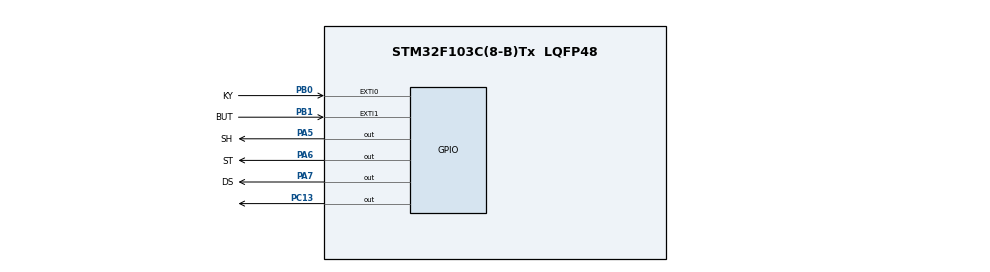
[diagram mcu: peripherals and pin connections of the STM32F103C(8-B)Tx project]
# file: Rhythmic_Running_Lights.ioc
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Mcu.Family=STM32F1
Mcu.Name=STM32F103C(8-B)Tx
Mcu.Package=LQFP48
NVIC.EXTI0_IRQn=true\:0\:0\:false\:false\:true\:true\:true\:true
NVIC.EXTI1_IRQn=true\:0\:0\:false\:false\:true\:true\:true\:true
NVIC.PriorityGroup=NVIC_PRIORITYGROUP_4
PA13.Mode=Serial_Wire
PA13.Signal=SYS_JTMS-SWDIO
PA14.Mode=Serial_Wire
PA14.Signal=SYS_JTCK-SWCLK
PA5.GPIO_Label=SH
PA5.GPIO_Speed=GPIO_SPEED_FREQ_HIGH
PA5.Signal=GPIO_Output
PA6.GPIO_Label=ST
PA6.GPIO_Speed=GPIO_SPEED_FREQ_HIGH
PA6.Signal=GPIO_Output
PA7.GPIO_Label=DS
PA7.GPIO_Speed=GPIO_SPEED_FREQ_HIGH
PA7.Signal=GPIO_Output
PB0.GPIO_Label=KY
PB0.GPIO_ModeDefaultEXTI=GPIO_MODE_IT_FALLING
PB0.GPIO_PuPd=GPIO_PULLUP
PB0.Signal=GPXTI0
PB1.GPIO_Label=BUT
PB1.GPIO_ModeDefaultEXTI=GPIO_MODE_IT_FALLING
PB1.GPIO_PuPd=GPIO_PULLUP
PB1.Signal=GPXTI1
PC13-TAMPER-RTC.Signal=GPIO_Output
PD0-OSC_IN.Mode=HSE-External-Oscillator
PD0-OSC_IN.Signal=RCC_OSC_IN
PD1-OSC_OUT.Mode=HSE-External-Oscillator
PD1-OSC_OUT.Signal=RCC_OSC_OUT
ProjectManager.HeapSize=0x200
ProjectManager.StackSize=0x400
ProjectManager.TargetToolchain=STM32CubeIDE
RCC.ADCPresc=RCC_ADCPCLK2_DIV8
RCC.AHBFreq_Value=72000000
RCC.APB1CLKDivider=RCC_HCLK_DIV2
RCC.APB1Freq_Value=36000000
RCC.APB1TimFreq_Value=72000000
RCC.APB2Freq_Value=72000000
RCC.APB2TimFreq_Value=72000000
RCC.EnbaleCSS=true
RCC.HCLKFreq_Value=72000000
RCC.PLLMUL=RCC_PLL_MUL9
RCC.PLLSourceVirtual=RCC_PLLSOURCE_HSE
RCC.SYSCLKFreq_VALUE=72000000
RCC.SYSCLKSource=RCC_SYSCLKSOURCE_PLLCLK
RCC.USBFreq_Value=72000000
board=custom

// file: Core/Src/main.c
/* USER CODE BEGIN Header */
/*
	Rhythmic_Running_Lights
 */
/* USER CODE END Header */
#include "main.h"
#include "gpio.h"

/* USER CODE BEGIN Includes */
#include "stdbool.h"
/* USER CODE END Includes */

/* USER CODE BEGIN PV */

#define HC595_DS_PORT    GPIOA
#define HC595_DS_PIN     GPIO_PIN_7
#define HC595_SHCP_PORT  GPIOA
#define HC595_SHCP_PIN   GPIO_PIN_5
#define HC595_STCP_PORT  GPIOA
#define HC595_STCP_PIN   GPIO_PIN_6

volatile bool beat_dec = false; //beat detected
uint32_t rand_state = 0; //generate random
uint8_t state = 0; //state
uint32_t last_button_time = 0; // button

static uint32_t last_time = 0;
/* USER CODE END PV */

void SystemClock_Config(void);
/* USER CODE BEGIN PFP */
void flash_led(uint8_t times);
/* USER CODE END PFP */

/* USER CODE BEGIN 0 */

//random byte for 75HC585
uint8_t RandomByte(void) {
	rand_state = rand_state * 1103515245 + 12345;
	return (rand_state >> 16) & 0xFF;
}

//sending byte from 75hc585
void HC585_Byte(uint8_t byte) {
	for (int i = 7; i >= 0; i--) {
		HAL_GPIO_WritePin(HC595_DS_PORT, HC595_DS_PIN,
				(byte & (1 << i)) ? GPIO_PIN_SET : GPIO_PIN_RESET);
		HAL_GPIO_WritePin(HC595_SHCP_PORT, HC595_SHCP_PIN, GPIO_PIN_SET);
		HAL_GPIO_WritePin(HC595_SHCP_PORT, HC595_SHCP_PIN, GPIO_PIN_RESET);
	}

	HAL_GPIO_WritePin(HC595_STCP_PORT, HC595_STCP_PIN, GPIO_PIN_SET);
	HAL_GPIO_WritePin(HC595_STCP_PORT, HC595_STCP_PIN, GPIO_PIN_RESET);
}
/* USER CODE END 0 */

int main(void) {

	/* MCU Configuration--------------------------------------------------------*/

	/* Reset of all peripherals, Initializes the Flash interface and the Systick. */
	HAL_Init();

	/* USER CODE BEGIN Init */
	rand_state = HAL_GetTick();
	/* USER CODE END Init */

	/* Configure the system clock */
	SystemClock_Config();

	/* Initialize all configured peripherals */
	MX_GPIO_Init();
	/* USER CODE BEGIN 2 */
	rand_state = HAL_GetTick();
	HAL_GPIO_WritePin(GPIOC, GPIO_PIN_13, GPIO_PIN_SET);
	/* USER CODE END 2 */

	/* Infinite loop */
	while (1) {

		/* USER CODE BEGIN 3 */
		if (state == 0)
		{
			if (beat_dec == true)
			{
				beat_dec = false;
				uint8_t pattern = RandomByte();
				HC585_Byte(pattern);
				HAL_GPIO_WritePin(GPIOC, GPIO_PIN_13, GPIO_PIN_RESET);
				HAL_Delay(20);
				HAL_GPIO_WritePin(GPIOC, GPIO_PIN_13, GPIO_PIN_SET);
			}

			if (last_time != 0 && (HAL_GetTick() - last_time) > 80) {
				HC585_Byte(0);
				last_time = 0;
			}
		}

		else if (state == 1)
		{
			static uint8_t pos = 0;
			HC585_Byte(1 << pos);
			pos = (pos + 1) & 7;
			HAL_Delay(150);
		}

		uint32_t now = HAL_GetTick();
		if (HAL_GPIO_ReadPin(GPIOB, GPIO_PIN_1) == GPIO_PIN_RESET)
		{
			if ((now - last_button_time) > 200)
			{
				last_button_time = now;
				state = (state == 0) ? 1 : 0;
				flash_led(state + 1);
				HC585_Byte(0);
			}
		}

		while (HAL_GPIO_ReadPin(GPIOB, GPIO_PIN_1) == GPIO_PIN_RESET) {}
	}
		HAL_Delay(5);
		/* USER CODE END 3 */
}

	/**
	 * @brief System Clock Configuration
	 * @retval None
	 */
	void SystemClock_Config(void) {
		RCC_OscInitTypeDef RCC_OscInitStruct = { 0 };
		RCC_ClkInitTypeDef RCC_ClkInitStruct = { 0 };

		/** Initializes the RCC Oscillators according to the specified parameters
		 * in the RCC_OscInitTypeDef structure.
		 */
		RCC_OscInitStruct.OscillatorType = RCC_OSCILLATORTYPE_HSE;
		RCC_OscInitStruct.HSEState = RCC_HSE_ON;
		RCC_OscInitStruct.HSEPredivValue = RCC_HSE_PREDIV_DIV1;
		RCC_OscInitStruct.HSIState = RCC_HSI_ON;
		RCC_OscInitStruct.PLL.PLLState = RCC_PLL_ON;
		RCC_OscInitStruct.PLL.PLLSource = RCC_PLLSOURCE_HSE;
		RCC_OscInitStruct.PLL.PLLMUL = RCC_PLL_MUL9;
		if (HAL_RCC_OscConfig(&RCC_OscInitStruct) != HAL_OK) {
			Error_Handler();
		}

		/** Initializes the CPU, AHB and APB buses clocks
		 */
		RCC_ClkInitStruct.ClockType = RCC_CLOCKTYPE_HCLK | RCC_CLOCKTYPE_SYSCLK
				| RCC_CLOCKTYPE_PCLK1 | RCC_CLOCKTYPE_PCLK2;
		RCC_ClkInitStruct.SYSCLKSource = RCC_SYSCLKSOURCE_PLLCLK;
		RCC_ClkInitStruct.AHBCLKDivider = RCC_SYSCLK_DIV1;
		RCC_ClkInitStruct.APB1CLKDivider = RCC_HCLK_DIV2;
		RCC_ClkInitStruct.APB2CLKDivider = RCC_HCLK_DIV1;

		if (HAL_RCC_ClockConfig(&RCC_ClkInitStruct, FLASH_LATENCY_2)
				!= HAL_OK) {
			Error_Handler();
		}

		/** Enables the Clock Security System
		 */
		HAL_RCC_EnableCSS();
	}

	/* USER CODE BEGIN 4 */
//INTERRUPT
	void HAL_GPIO_EXTI_Callback(uint16_t GPIO_Pin) {
		if (GPIO_Pin == GPIO_PIN_0)  // PB0
		{
			uint32_t now = HAL_GetTick();
			if ((now - last_time) > 80)   //80MC
					{
				last_time = now;
				beat_dec = true;    // FLAG
			}
			__HAL_GPIO_EXTI_CLEAR_IT(GPIO_PIN_0);
		}
	}

	void flash_led(uint8_t times) {
		for (uint8_t i = 0; i < times; i++) {
			HAL_GPIO_WritePin(GPIOC, GPIO_PIN_13, GPIO_PIN_RESET);
			HAL_Delay(100);
			HAL_GPIO_WritePin(GPIOC, GPIO_PIN_13, GPIO_PIN_SET);
			HAL_Delay(100);
		}
	}
	/* USER CODE END 4 */

	/**
	 * @brief  This function is executed in case of error occurrence.
	 * @retval None
	 */
	void Error_Handler(void) {
		__disable_irq();
		while (1) {
		}
	}
